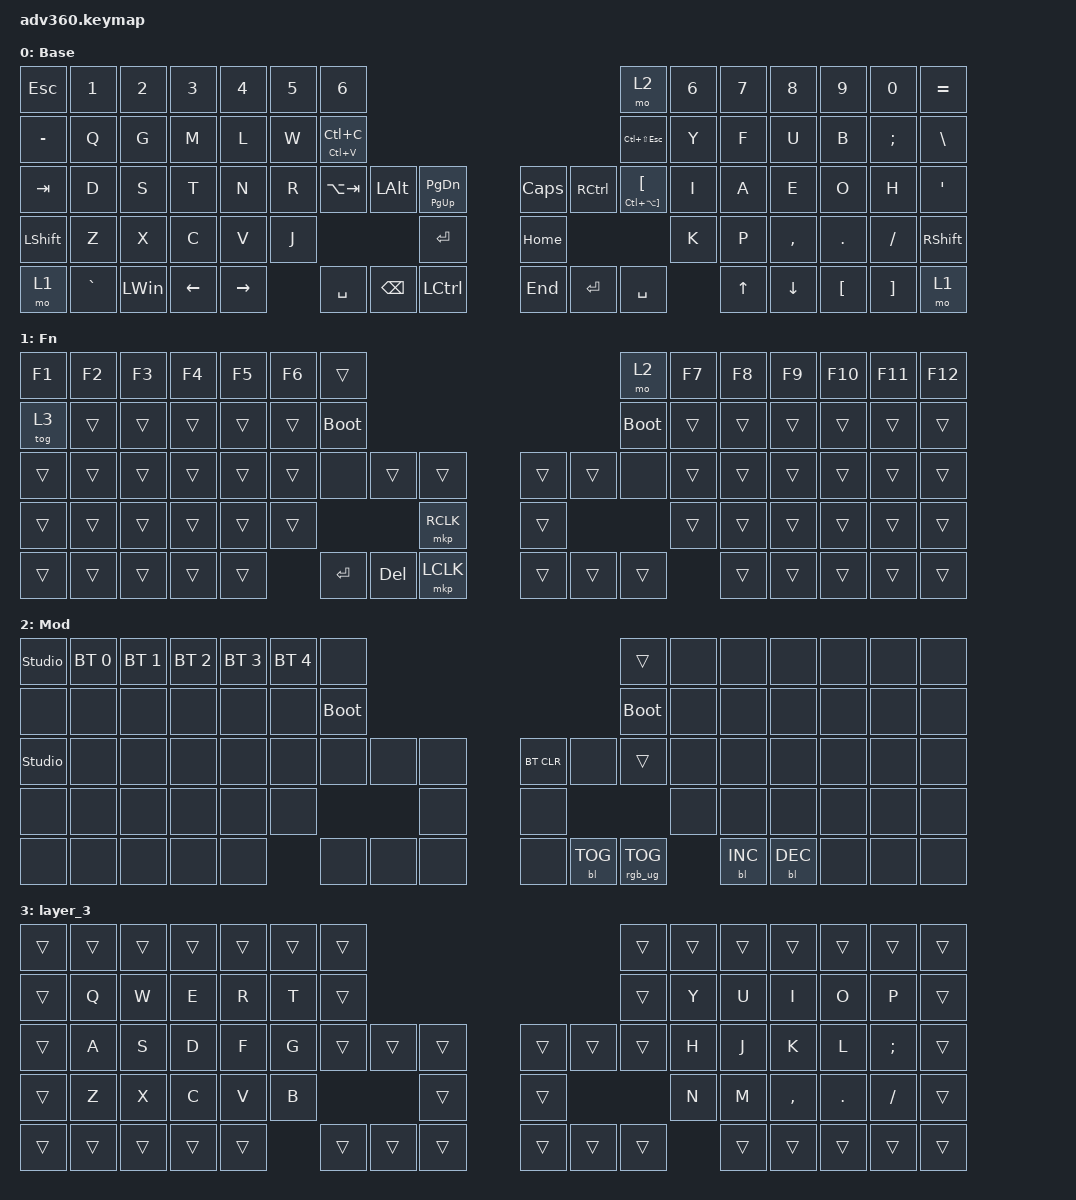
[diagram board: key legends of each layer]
#include <dt-bindings/zmk/stp.h>
#include <behaviors.dtsi>
#include <dt-bindings/zmk/backlight.h>
#include <dt-bindings/zmk/bt.h>
#include <dt-bindings/zmk/keys.h>
#include <dt-bindings/zmk/pointing.h>
#include <dt-bindings/zmk/rgb.h>

/ {
    behaviors {
        #include "macros.dtsi"
      #include "version.dtsi"

        hm: homerow_mods {
            compatible = "zmk,behavior-hold-tap";
            label = "HOMEROW_MODS";
            #binding-cells = <2>;
            tapping-term-ms = <200>;
            quick_tap_ms = <175>;
            flavor = "tap-preferred";
            bindings = <&kp>, <&kp>;
        };
    };

    macros {
        alt_tab: alt_tab {
            compatible = "zmk,behavior-macro";
            #binding-cells = <0>;
            bindings = <&kp LEFT_ALT &kp TAB>;
            label = "ALT_TAB";
        };

        copy: copy {
            compatible = "zmk,behavior-macro";
            #binding-cells = <0>;
            bindings = <&kp LCTRL &kp C>;
            label = "COPY";
        };

        paste: paste {
            compatible = "zmk,behavior-macro";
            #binding-cells = <0>;
            bindings = <&kp LCTRL &kp V>;
            label = "PASTE";
        };

        desktop_left: desktop_left {
            compatible = "zmk,behavior-macro";
            #binding-cells = <0>;
            bindings = <&none>;
            label = "DESKTOP_LEFT";
        };
    };

    keymap {
        compatible = "zmk,keymap";

        default_layer {
            display-name = "Base";
            bindings = <
&kp ESCAPE  &kp N1     &kp N2        &kp N3    &kp N4     &kp N5  &kp NUMBER_6                                                                        &mo 2                                   &kp N6  &kp N7  &kp N8     &kp N9    &kp N0         &kp EQUAL
&kp MINUS   &kp Q      &kp G         &kp M     &kp L      &kp W   &mt LC(V) LC(C)                                                                     &kp LC(LS(ESCAPE))                      &kp Y   &kp F   &kp U      &kp B     &kp SEMICOLON  &kp BSLH
&kp TAB     &kp D      &kp S         &kp T     &kp N      &kp R   &kp LA(TAB)      &kp LEFT_ALT   &mt PAGE_UP PAGE_DOWN      &kp CAPSLOCK  &kp RCTRL  &mt LC(LA(RIGHT_BRACKET)) LEFT_BRACKET  &kp I   &kp A   &kp E      &kp O     &kp H          &kp SQT
&kp LSHFT   &kp Z      &kp X         &kp C     &kp V      &kp J                                   &kp ENTER                  &kp HOME                                                         &kp K   &kp P   &kp COMMA  &kp DOT   &kp FSLH       &kp RSHFT
&mo 1       &kp GRAVE  &kp LEFT_WIN  &kp LEFT  &kp RIGHT          &kp SPACE        &kp BACKSPACE  &kp LCTRL                  &kp END       &kp ENTER  &kp SPACE                                       &kp UP  &kp DOWN   &kp LBKT  &kp RBKT       &mo 1
            >;
        };

        fn {
            display-name = "Fn";
            bindings = <
&kp F1  &kp F2  &kp F3  &kp F4  &kp F5  &kp F6  &trans                                                  &mo 2        &kp F7  &kp F8  &kp F9  &kp F10  &kp F11  &kp F12
&tog 3  &trans  &trans  &trans  &trans  &trans  &bootloader                                             &bootloader  &trans  &trans  &trans  &trans   &trans   &trans
&trans  &trans  &trans  &trans  &trans  &trans  &none        &trans      &trans         &trans  &trans  &none        &trans  &trans  &trans  &trans   &trans   &trans
&trans  &trans  &trans  &trans  &trans  &trans                           &mkp RCLK      &trans                       &trans  &trans  &trans  &trans   &trans   &trans
&trans  &trans  &trans  &trans  &trans          &kp ENTER    &kp DELETE  &mkp LCLK      &trans  &trans  &trans               &trans  &trans  &trans   &trans   &trans
            >;
        };

        mod {
            display-name = "Mod";
            bindings = <
&studio_unlock  &bt BT_SEL 0  &bt BT_SEL 1  &bt BT_SEL 2  &bt BT_SEL 3  &bt BT_SEL 4  &none                                                  &trans           &none  &none       &none       &none  &none  &none
&none           &none         &none         &none         &none         &none         &bootloader                                            &bootloader      &none  &none       &none       &none  &none  &none
&studio_unlock  &none         &none         &none         &none         &none         &none        &none  &none      &bt BT_CLR  &none       &trans           &none  &none       &none       &none  &none  &none
&none           &none         &none         &none         &none         &none                             &none      &none                                    &none  &none       &none       &none  &none  &none
&none           &none         &none         &none         &none                       &none        &none  &none      &none       &bl BL_TOG  &rgb_ug RGB_TOG         &bl BL_INC  &bl BL_DEC  &none  &none  &none
            >;
        };

        layer_3 {
            bindings = <
&trans  &trans  &trans  &trans  &trans  &trans  &trans                                      &trans  &trans  &trans  &trans     &trans      &trans         &trans
&trans  &kp Q   &kp W   &kp E   &kp R   &kp T   &trans                                      &trans  &kp Y   &kp U   &kp I      &kp O       &kp P          &trans
&trans  &kp A   &kp S   &kp D   &kp F   &kp G   &trans  &trans  &trans      &trans  &trans  &trans  &kp H   &kp J   &kp K      &kp L       &kp SEMICOLON  &trans
&trans  &kp Z   &kp X   &kp C   &kp V   &kp B                   &trans      &trans                  &kp N   &kp M   &kp COMMA  &kp PERIOD  &kp SLASH      &trans
&trans  &trans  &trans  &trans  &trans          &trans  &trans  &trans      &trans  &trans  &trans          &trans  &trans     &trans      &trans         &trans
            >;
        };
    };
};
